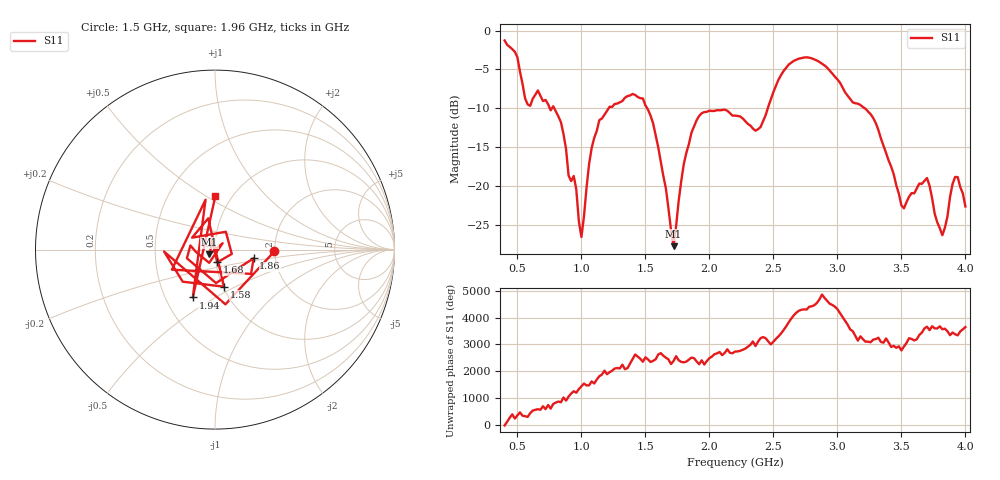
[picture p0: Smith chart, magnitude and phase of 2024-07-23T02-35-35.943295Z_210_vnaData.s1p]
!Created with skrf (http://scikit-rf.org).
# Hz S RI R 50.0
!freq ReS11 ImS11
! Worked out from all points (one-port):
!   181 points, 400 MHz to 4 GHz, reference 50 ohm
!   lowest |S11| = -27.7 dB at 1.72 GHz (marker M1), VSWR 1.09, Z = 46.9 - j2.56 ohm
!   |S11| at or under -10 dB: 788.1 MHz to 1.213 GHz (424.5 MHz wide, 42.4 % of centre); 1.514 GHz to 2.456 GHz (942 MHz wide, 47.5 % of centre); 3.215 GHz to end of sweep (the widest 3 of 4)
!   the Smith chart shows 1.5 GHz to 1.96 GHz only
!   S11 on the Smith chart (normalised r, x): 1.5 GHz: 1.99, -0.05; 1.58 GHz: 1.01, -0.44; 1.68 GHz: 1.02, -0.14; 1.86 GHz: 1.54, -0.15; 1.94 GHz: 0.68, -0.40; 1.96 GHz: 0.84, +0.55
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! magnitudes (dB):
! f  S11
! 400 MHz  -1.3
! 500 MHz  -3.4
! 580 MHz  -9.5
! 660 MHz  -7.7
! 860 MHz  -13.3
! 960 MHz  -20.4
! 1 GHz  -26.5
! 1.1 GHz  -13.8
! 1.3 GHz  -9.2
! 1.5 GHz  -9.6
! 1.58 GHz  -13.4
! 1.68 GHz  -22.8
! 1.72 GHz  -27.7
! 1.76 GHz  -21.9
! 1.86 GHz  -13.1
! 1.94 GHz  -10.6
! 1.96 GHz  -10.5
! 2.2 GHz  -10.9
! 2.4 GHz  -12.4
! 2.66 GHz  -3.9
! 3.1 GHz  -8.8
! 3.3 GHz  -11.9
! 3.5 GHz  -22.5
! 3.56 GHz  -21.4
! 3.7 GHz  -19.0
! 3.82 GHz  -26.3
! 3.92 GHz  -18.8
! 4 GHz  -22.6
